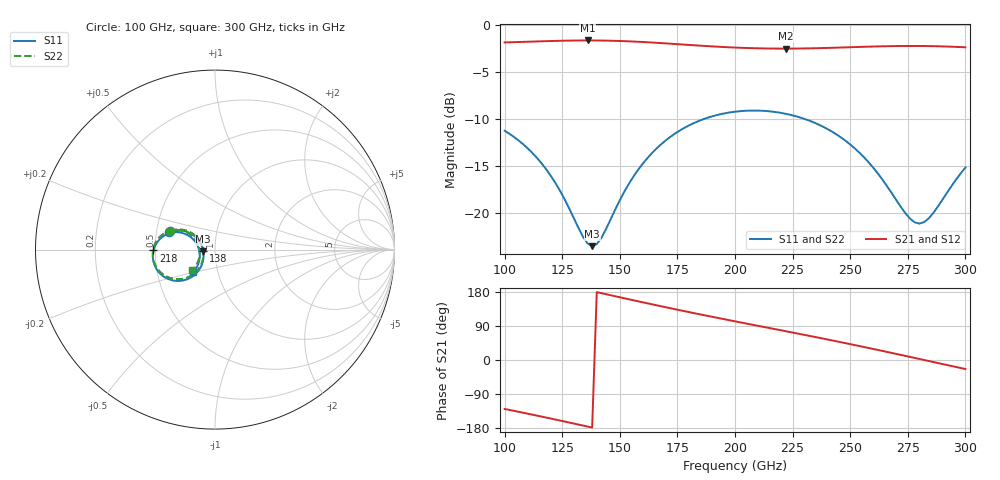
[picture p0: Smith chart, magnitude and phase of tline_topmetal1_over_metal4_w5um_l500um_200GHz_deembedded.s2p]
! Created with skrf 2.0.1 (http://scikit-rf.org).
# GHz S DB R 50.0
!freq dBS11 angS11 dBS21 angS21 dBS12 angS12 dBS22 angS22
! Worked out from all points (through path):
!   101 points, 100 GHz to 300 GHz, reference 50 ohm
!   highest |S21| = -1.66 dB at 136 GHz (marker M1); lowest = -2.5 dB at 222 GHz (marker M2)
!   group delay of S21, straight-line fit = 3.5 ps
!   lowest |S11| = -23.6 dB at 138 GHz (marker M3), VSWR 1.14, Z = 43.8 - j0.817 ohm
!   |S11| at or under -10 dB: start of sweep to 186.9 GHz; 229.9 GHz to end of sweep
!   |S22| runs from -23.6 to -9.2 dB; largest |S21 - S12| = 1.3e-13
!   S11 on the Smith chart (normalised r, x): 100 GHz: 0.58, +0.12; 138 GHz: 0.88, -0.02; 218 GHz: 0.49, -0.01; 300 GHz: 0.76, -0.20
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100  -11.28 159.1  -1.86 -129.2  -1.86 -129.2  -11.30 157.7
110  -13.15 150.9  -1.79 -141.6  -1.79 -141.6  -13.18 149.3
118  -15.38 146.7  -1.73 -151.8  -1.73 -151.8  -15.40 145.0
124  -17.66 146.9  -1.69 -159.7  -1.69 -159.7  -17.69 145.1
134  -22.58 167.0  -1.66 -172.9  -1.66 -172.9  -22.61 165.0
136  -23.29 176.7  -1.66 -175.6  -1.66 -175.6  -23.32 174.8
138  -23.59 -171.9  -1.66 -178.3  -1.66 -178.3  -23.62 -173.9
142  -22.71 -150.4  -1.67 176.3  -1.67 176.3  -22.74 -152.4
152  -17.77 -128.9  -1.73 162.9  -1.73 162.9  -17.79 -131.0
160  -14.78 -129.1  -1.82 152.2  -1.82 152.2  -14.81 -131.4
168  -12.71 -133.8  -1.94 141.7  -1.94 141.7  -12.73 -136.2
184  -10.27 -147.5  -2.20 121.5  -2.20 121.5  -10.30 -150.2
200  -9.25 -162.6  -2.41 102.1  -2.41 102.1  -9.28 -165.4
218  -9.30 -179.2  -2.52 80.7  -2.52 80.7  -9.33 177.6
222  -9.47 177.1  -2.52 76.0  -2.52 76.0  -9.50 173.9
234  -10.38 166.8  -2.49 61.6  -2.49 61.6  -10.41 163.3
252  -13.17 154.2  -2.36 39.4  -2.36 39.4  -13.21 150.5
268  -17.92 156.2  -2.26 18.7  -2.26 18.7  -17.99 152.1
276  -20.66 173.9  -2.24 8.1  -2.24 8.1  -20.76 169.9
282  -21.04 -163.1  -2.25 0.1  -2.25 0.1  -21.15 -167.0
290  -18.65 -141.0  -2.29 -10.5  -2.29 -10.5  -18.72 -144.9
300  -15.21 -134.3  -2.38 -23.8  -2.38 -23.8  -15.26 -138.4
